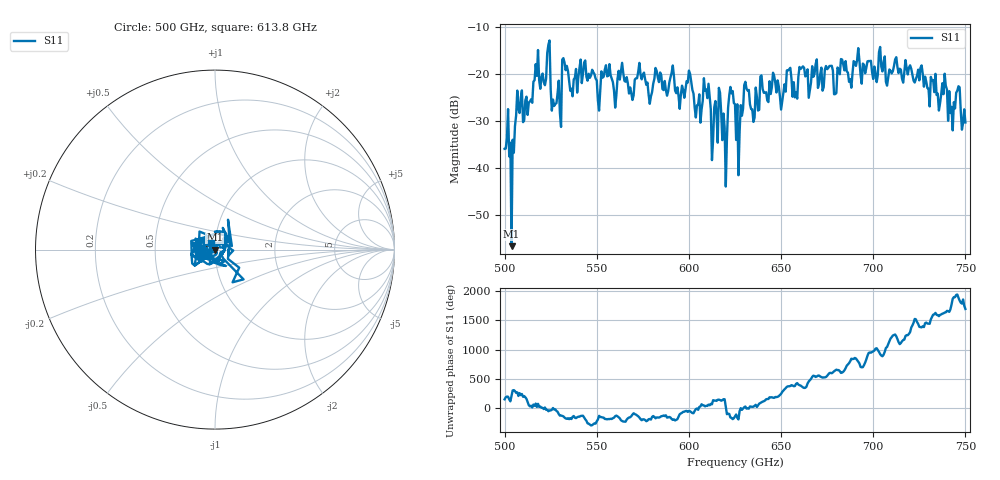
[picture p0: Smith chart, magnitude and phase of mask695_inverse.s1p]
!Created with skrf (http://scikit-rf.org).
# GHz S MA R 50.0
!freq magS11 angS11
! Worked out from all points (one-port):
!   401 points, 500 GHz to 750 GHz, reference 50 ohm
!   lowest |S11| = -56.7 dB at 503.8 GHz (marker M1), VSWR 1.00, Z = 49.9 - j0.0505 ohm
!   |S11| at or under -10 dB: start of sweep to end of sweep
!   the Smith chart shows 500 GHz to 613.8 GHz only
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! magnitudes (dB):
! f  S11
! 500 GHz  -35.9
! 503.8 GHz  -56.7
! 508.1 GHz  -28.3
! 513.8 GHz  -25.8
! 516.9 GHz  -17.8
! 523.8 GHz  -13.7
! 526.9 GHz  -26.8
! 531.2 GHz  -16.9
! 532.5 GHz  -17.5
! 550.6 GHz  -25.6
! 562.5 GHz  -21.1
! 593.8 GHz  -22.8
! 609.4 GHz  -23.2
! 612.5 GHz  -38.3
! 617.5 GHz  -28.1
! 619.4 GHz  -31.4
! 622.5 GHz  -22.7
! 625 GHz  -26.4
! 626.9 GHz  -41.6
! 631.2 GHz  -23.1
! 634.4 GHz  -27.5
! 640 GHz  -23.1
! 656.2 GHz  -24.8
! 687.5 GHz  -21.0
! 718.8 GHz  -20.0
! 741.9 GHz  -28.3
! 746.2 GHz  -22.6
! 750 GHz  -30.3
